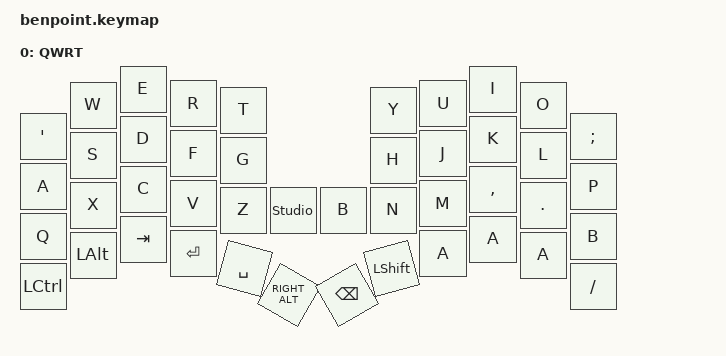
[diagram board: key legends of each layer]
#include <behaviors.dtsi>
#include <dt-bindings/zmk/keys.h>

/ {
    keymap {
        compatible = "zmk,keymap";

        default_layer {
            label = "QWRT";
            bindings = <
&kp SQT    &kp W     &kp E    &kp R      &kp T                                      &kp Y           &kp U  &kp I      &kp O    &kp SEMICOLON
&kp A      &kp S     &kp D    &kp F      &kp G                                      &kp H           &kp J  &kp K      &kp L    &kp P
&kp Q      &kp X     &kp C    &kp V      &kp Z      &studio_unlock   &kp B          &kp N           &kp M  &kp COMMA  &kp DOT  &kp B
&kp LCTRL  &kp LALT  &kp TAB  &kp ENTER  &kp SPACE  &RIGHT_ALT       &kp BACKSPACE  &kp LEFT_SHIFT  &kp A  &kp A      &kp A    &kp SLASH
            >;
        };
    };
 };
